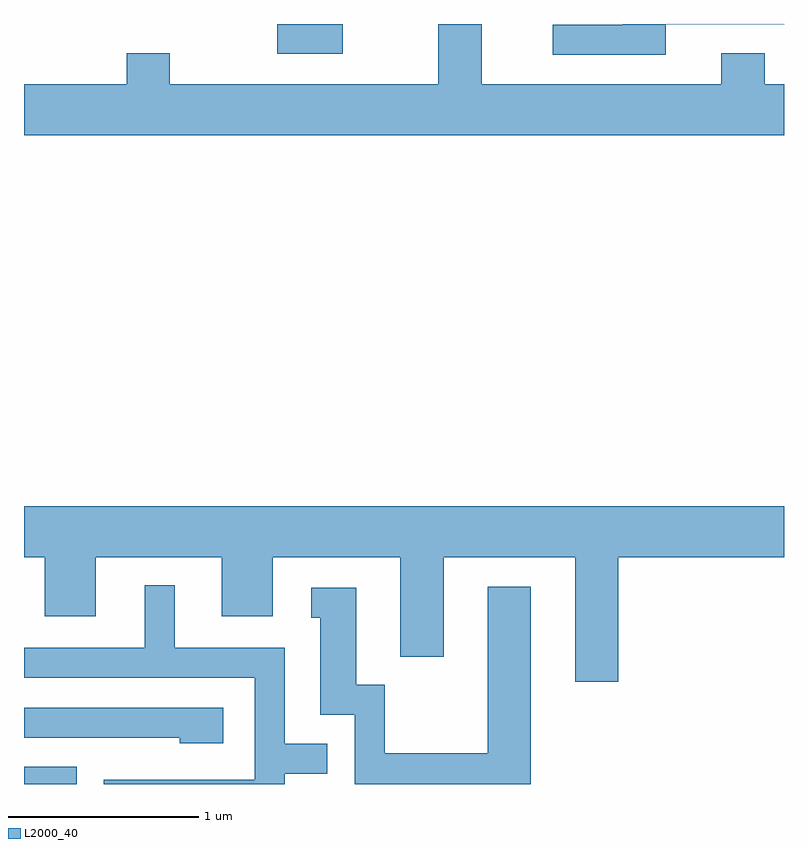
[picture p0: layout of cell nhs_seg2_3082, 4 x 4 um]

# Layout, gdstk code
import gdstk
lib = gdstk.Library(unit=1e-6, precision=1e-09)
def R(c, l, rs):  # rectangles x0, y0, x1, y1
    for r in rs: c.add(gdstk.rectangle(r[:2], r[2:], *l))
def P(c, l, *ps):  # polygons
    for p in ps: c.add(gdstk.Polygon(p, *l))
L2000_40 = (2000, 40)

nhs_seg2_3082 = lib.new_cell('nhs_seg2_3082')
R(nhs_seg2_3082, L2000_40, [(275.611,1033.802,275.888,1033.894), (276.943,1037.646,277.289,1037.802)])
P(nhs_seg2_3082, L2000_40, [(279.611,1037.484),(279.509,1037.484),(279.509,1037.649),(279.281,1037.649),(279.281,1037.484),(278.019,1037.484),(278.019,1037.802),(277.791,1037.802),(277.791,1037.484),(276.379,1037.484),(276.379,1037.649),(276.151,1037.649),(276.151,1037.484),(275.611,1037.484),(275.611,1037.216),(279.611,1037.216)],
  [(278.989,1037.801),(279.611,1037.801),(279.611,1037.802),(278.761,1037.802),(278.761,1037.799),(278.393,1037.799),(278.393,1037.641),(278.989,1037.641)],
  [(278.739,1034.996),(279.611,1034.996),(279.611,1035.264),(275.611,1035.264),(275.611,1034.996),(275.721,1034.996),(275.721,1034.686),(275.989,1034.686),(275.989,1034.996),(276.651,1034.996),(276.651,1034.686),(276.919,1034.686),(276.919,1034.996),(277.591,1034.996),(277.591,1034.471),(277.819,1034.471),(277.819,1034.996),(278.511,1034.996),(278.511,1034.341),(278.739,1034.341)],
  [(276.984,1033.856),(277.208,1033.856),(277.208,1034.014),(276.984,1034.014),(276.984,1034.519),(276.404,1034.519),(276.404,1034.848),(276.246,1034.848),(276.246,1034.519),(275.611,1034.519),(275.611,1034.361),(276.826,1034.361),(276.826,1033.824),(276.031,1033.824),(276.031,1033.802),(276.984,1033.802)],
  [(278.279,1034.839),(278.051,1034.839),(278.051,1033.964),(277.509,1033.964),(277.509,1034.324),(277.359,1034.324),(277.359,1034.834),(277.123,1034.834),(277.123,1034.676),(277.171,1034.676),(277.171,1034.166),(277.351,1034.166),(277.351,1033.802),(278.279,1033.802)],
  [(276.659,1034.204),(275.611,1034.204),(275.611,1034.046),(276.431,1034.046),(276.431,1034.016),(276.659,1034.016)])

lib.write_gds('nhs_seg2_3082.gds')
